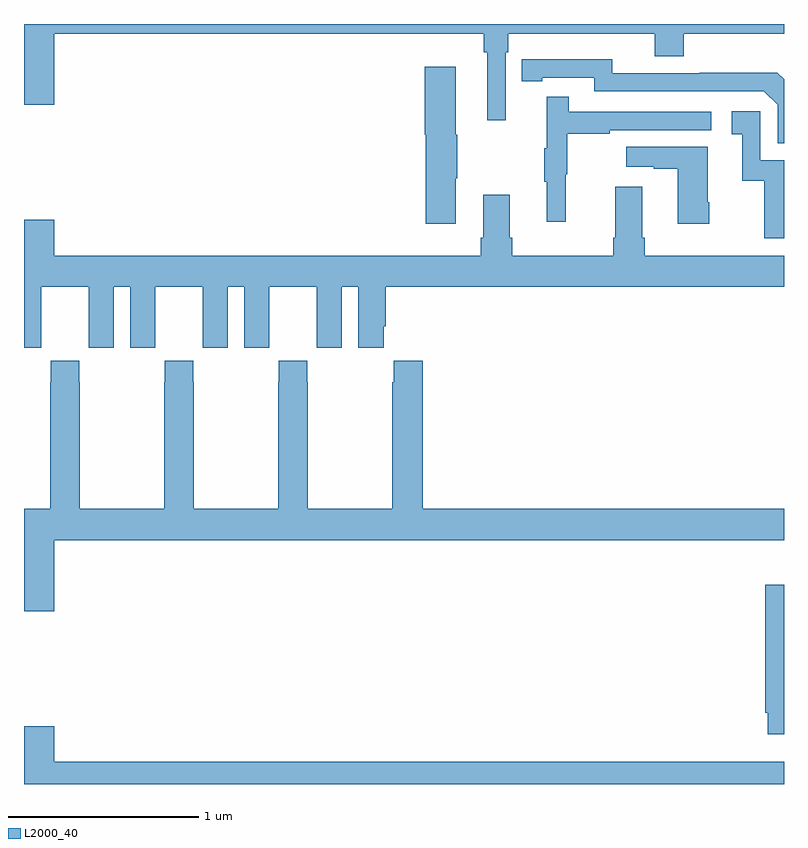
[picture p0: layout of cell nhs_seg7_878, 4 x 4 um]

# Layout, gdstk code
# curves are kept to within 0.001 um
import gdstk
lib = gdstk.Library(unit=1e-6, precision=1e-09)
def P(c, l, *ps):  # polygons
    for p in ps: c.add(gdstk.Polygon(p, *l))
L2000_40 = (2000, 40)

nhs_seg7_878 = lib.new_cell('nhs_seg7_878')
P(nhs_seg7_878, L2000_40, [(179.535,1001.852),(179.549,1001.852),(179.549,1001.948),(180.32,1001.948),(180.32,1001.831),(180.473,1001.831),(180.473,1001.948),(181,1001.948),(181,1002),(177,1002),(177,1001.574),(177.16,1001.574),(177.16,1001.948),(179.419,1001.948),(179.419,1001.852),(179.438,1001.852),(179.438,1001.493),(179.535,1001.493)],
  [(181,1001.708),(180.964,1001.744),(180.556,1001.744),(180.556,1001.742),(180.096,1001.742),(180.096,1001.815),(179.62,1001.814),(179.62,1001.698),(179.728,1001.698),(179.728,1001.718),(180,1001.718),(180,1001.646),(180.894,1001.646),(180.966,1001.574),(180.966,1001.373),(181,1001.373)],
  [(179.272,1001.188),(179.28,1001.188),(179.28,1001.418),(179.272,1001.418),(179.272,1001.776),(179.108,1001.776),(179.108,1001.418),(179.114,1001.418),(179.114,1000.95),(179.272,1000.95)],
  [(179.852,1001.208),(179.86,1001.208),(179.86,1001.422),(180.083,1001.422),(180.083,1001.442),(180.616,1001.442),(180.616,1001.538),(179.867,1001.538),(179.867,1001.617),(179.75,1001.617),(179.75,1001.345),(179.739,1001.345),(179.739,1001.171),(179.75,1001.171),(179.75,1000.959),(179.852,1000.959)],
  [(181,1001.283),(180.876,1001.283),(180.876,1001.542),(180.726,1001.542),(180.726,1001.421),(180.779,1001.421),(180.779,1001.175),(180.897,1001.175),(180.897,1000.872),(181,1000.872)],
  [(180.606,1001.062),(180.598,1001.062),(180.598,1001.353),(180.171,1001.353),(180.171,1001.249),(180.314,1001.249),(180.314,1001.239),(180.44,1001.239),(180.44,1000.95),(180.606,1000.95)],
  [(177.09,1000.408),(177.091,1000.408),(177.091,1000.616),(177.341,1000.616),(177.341,1000.408),(177.342,1000.408),(177.342,1000.296),(177.472,1000.296),(177.472,1000.616),(177.56,1000.616),(177.56,1000.296),(177.69,1000.296),(177.69,1000.408),(177.691,1000.408),(177.691,1000.616),(177.941,1000.616),(177.941,1000.408),(177.942,1000.408),(177.942,1000.296),(178.072,1000.296),(178.072,1000.616),(178.16,1000.616),(178.16,1000.296),(178.29,1000.296),(178.29,1000.408),(178.291,1000.408),(178.291,1000.616),(178.541,1000.616),(178.541,1000.408),(178.542,1000.408),(178.542,1000.296),(178.672,1000.296),(178.672,1000.616),(178.76,1000.616),(178.76,1000.296),(178.894,1000.296),(178.894,1000.408),(178.904,1000.408),(178.904,1000.616),(181,1000.616),(181,1000.78),(180.266,1000.78),(180.266,1000.876),(180.253,1000.876),(180.253,1001.143),(180.113,1001.143),(180.113,1000.876),(180.101,1000.876),(180.101,1000.78),(179.57,1000.78),(179.57,1000.876),(179.557,1000.876),(179.557,1001.101),(179.417,1001.101),(179.417,1000.876),(179.405,1000.876),(179.405,1000.78),(177.16,1000.78),(177.16,1000.969),(177,1000.969),(177,1000.296),(177.09,1000.296)],
  [(177.16,999.284),(181,999.284),(181,999.448),(179.099,999.448),(179.099,1000.228),(178.945,1000.228),(178.945,1000.115),(178.939,1000.115),(178.939,999.448),(178.494,999.448),(178.494,1000.115),(178.491,1000.115),(178.491,1000.228),(178.341,1000.228),(178.341,1000.115),(178.339,1000.115),(178.339,999.448),(177.894,999.448),(177.894,1000.115),(177.891,1000.115),(177.891,1000.228),(177.741,1000.228),(177.741,1000.115),(177.739,1000.115),(177.739,999.448),(177.294,999.448),(177.294,1000.115),(177.291,1000.115),(177.291,1000.228),(177.141,1000.228),(177.141,1000.115),(177.139,1000.115),(177.139,999.448),(177,999.448),(177,998.91),(177.16,998.91)],
  [(181,999.049),(180.902,999.049),(180.902,998.374),(180.914,998.374),(180.914,998.262),(181,998.262)],
  [(181,998.116),(177.16,998.116),(177.16,998.305),(177,998.305),(177,998),(181,998)])

lib.write_gds('nhs_seg7_878.gds')
